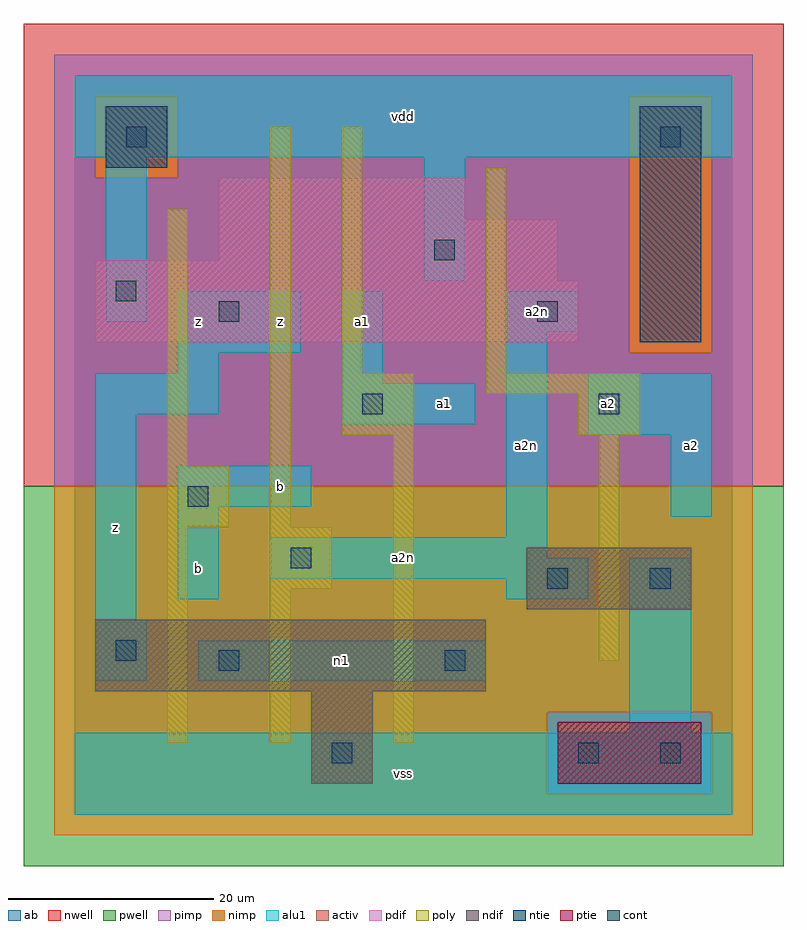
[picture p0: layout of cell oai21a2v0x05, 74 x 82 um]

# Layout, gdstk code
import gdstk
lib = gdstk.Library(unit=1e-6, precision=1e-09)
def R(c, l, rs):  # rectangles x0, y0, x1, y1
    for r in rs: c.add(gdstk.rectangle(r[:2], r[2:], *l))
ndif = (3, 0)
pdif = (4, 0)
ntie = (5, 0)
ptie = (6, 0)
cont = (25, 0)
pwell = (41, 0)
nwell = (42, 0)
activ = (43, 0)
pimp = (44, 0)
nimp = (45, 0)
poly = (46, 0)
alu1 = (49, 0)
ab = (63, 0)

oai21a2v0x05 = lib.new_cell('oai21a2v0x05')
R(oai21a2v0x05, ndif, [(23,3,29,12), (2,12,40,19), (44,20,60,26)])
R(oai21a2v0x05, pdif, [(2,46,49,52), (2,52,47,54), (14,54,47,58), (14,58,38,62)])
R(oai21a2v0x05, ntie, [(55,46,61,69), (3,63,9,69)])
R(oai21a2v0x05, ptie, [(47,3,61,9)])
R(oai21a2v0x05, cont, [(25,5,27,7), (49,5,51,7), (57,5,59,7), (14,14,16,16), (36,14,38,16), (4,15,6,17), (46,22,48,24), (56,22,58,24), (21,24,23,26), (11,30,13,32), (28,39,30,41), (51,39,53,41), (14,48,16,50), (45,48,47,50), (4,50,6,52), (35,54,37,56), (5,65,7,67), (57,65,59,67)])
R(oai21a2v0x05, pwell, [(-5,-5,69,32)])
R(oai21a2v0x05, nwell, [(-5,32,69,77)])
R(oai21a2v0x05, activ, [(23,3,29,12), (47,3,61,9), (2,12,40,19), (44,20,60,26), (2,46,49,52), (55,46,61,69), (2,52,47,54), (14,54,47,58), (14,58,38,62), (3,63,9,69)])
R(oai21a2v0x05, pimp, [(46,2,62,10), (-2,32,66,45), (-2,45,54,62), (62,45,66,70), (-2,62,2,70), (10,62,54,70), (-2,70,66,74)])
R(oai21a2v0x05, nimp, [(-2,-2,66,2), (-2,2,46,10), (62,2,66,10), (-2,10,66,32), (54,45,62,70), (2,62,10,70)])
R(oai21a2v0x05, poly, [(9,7,11,28), (19,7,21,22), (31,7,33,37), (51,15,53,37), (19,22,25,28), (9,28,15,34), (19,28,21,67), (9,34,11,59), (26,37,33,43), (49,37,55,41), (40,41,55,43), (26,43,28,67), (40,43,42,63)])
R(oai21a2v0x05, alu1, [(0,0,64,8), (54,8,60,25), (2,13,7,19), (12,13,40,17), (2,19,6,39), (10,21,14,30), (42,21,50,23), (19,23,50,25), (19,25,46,27), (42,27,46,47), (58,29,62,37), (10,30,23,34), (50,37,62,43), (26,38,39,42), (2,39,14,43), (26,42,30,51), (10,43,14,45), (10,45,22,51), (42,47,49,51), (3,48,7,64), (34,52,38,64), (0,64,64,72)])
R(oai21a2v0x05, ab, [(0,0,64,72)])
oai21a2v0x05.add(gdstk.Label('n1', (26,15), layer=49, texttype=0))
oai21a2v0x05.add(gdstk.Label('a2n', (32,25), layer=49, texttype=0))
oai21a2v0x05.add(gdstk.Label('a2n', (45,49), layer=49, texttype=0))
oai21a2v0x05.add(gdstk.Label('a2n', (44,36), layer=49, texttype=0))
oai21a2v0x05.add(gdstk.Label('z', (4,28), layer=49, texttype=0))
oai21a2v0x05.add(gdstk.Label('b', (12,24), layer=49, texttype=0))
oai21a2v0x05.add(gdstk.Label('z', (12,48), layer=49, texttype=0))
oai21a2v0x05.add(gdstk.Label('b', (20,32), layer=49, texttype=0))
oai21a2v0x05.add(gdstk.Label('z', (20,48), layer=49, texttype=0))
oai21a2v0x05.add(gdstk.Label('a1', (28,48), layer=49, texttype=0))
oai21a2v0x05.add(gdstk.Label('vss', (32,4), layer=49, texttype=0))
oai21a2v0x05.add(gdstk.Label('a1', (36,40), layer=49, texttype=0))
oai21a2v0x05.add(gdstk.Label('vdd', (32,68), layer=49, texttype=0))
oai21a2v0x05.add(gdstk.Label('a2', (60,36), layer=49, texttype=0))
oai21a2v0x05.add(gdstk.Label('a2', (52,40), layer=49, texttype=0))

lib.write_gds('oai21a2v0x05.gds')
